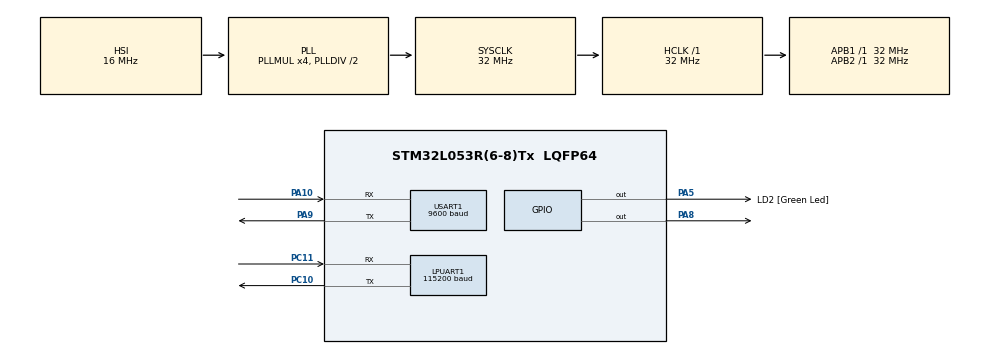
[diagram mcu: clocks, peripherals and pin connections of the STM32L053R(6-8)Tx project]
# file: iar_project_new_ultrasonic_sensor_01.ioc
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LPUART1.BaudRate=115200
LPUART1.WordLength=UART_WORDLENGTH_8B
Mcu.Family=STM32L0
Mcu.Name=STM32L053R(6-8)Tx
Mcu.Package=LQFP64
NVIC.RCC_CRS_IRQn=true\:0\:0\:false\:false\:true\:true\:false\:true
NVIC.USART1_IRQn=true\:0\:0\:false\:false\:true\:true\:true\:true
PA10.Mode=Asynchronous
PA10.Signal=USART1_RX
PA13.GPIO_Label=TMS
PA13.Mode=Serial_Wire
PA13.Signal=SYS_SWDIO
PA14.GPIO_Label=TCK
PA14.Mode=Serial_Wire
PA14.Signal=SYS_SWCLK
PA5.GPIO_Label=LD2 [Green Led]
PA5.Signal=GPIO_Output
PA8.Signal=GPIO_Output
PA9.Mode=Asynchronous
PA9.Signal=USART1_TX
PC10.Mode=Asynchronous
PC10.Signal=LPUART1_TX
PC11.Mode=Asynchronous
PC11.Signal=LPUART1_RX
PC14-OSC32_IN.Mode=LSE-External-Oscillator
PC14-OSC32_IN.Signal=RCC_OSC32_IN
PC15-OSC32_OUT.Mode=LSE-External-Oscillator
PC15-OSC32_OUT.Signal=RCC_OSC32_OUT
PH0-OSC_IN.Mode=HSE-External-Oscillator
PH0-OSC_IN.Signal=RCC_OSC_IN
PH1-OSC_OUT.Mode=HSE-External-Oscillator
PH1-OSC_OUT.Signal=RCC_OSC_OUT
ProjectManager.HeapSize=0x200
ProjectManager.StackSize=0x400
ProjectManager.TargetToolchain=EWARM V8.32
RCC.AHBFreq_Value=32000000
RCC.APB1Freq_Value=32000000
RCC.APB1TimFreq_Value=32000000
RCC.APB2Freq_Value=32000000
RCC.APB2TimFreq_Value=32000000
RCC.HCLKFreq_Value=32000000
RCC.HSE_VALUE=8000000
RCC.HSI16_VALUE=16000000
RCC.HSI48_VALUE=48000000
RCC.HSI_VALUE=16000000
RCC.MSI_VALUE=2097000
RCC.PLLMUL=RCC_PLLMUL_4
RCC.SYSCLKFreq_VALUE=32000000
RCC.SYSCLKSource=RCC_SYSCLKSOURCE_PLLCLK
RCC.VCOOutputFreq_Value=64000000
USART1.BaudRate=9600
USART1.VirtualMode-Asynchronous=VM_ASYNC
board=NUCLEO-L053R8

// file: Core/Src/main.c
/* USER CODE BEGIN Header */
/**
  ******************************************************************************
  * @file           : main.c
  * @brief          : Main program body
  ******************************************************************************
  * @attention
  *
  * Copyright (c) 2023 STMicroelectronics.
  * All rights reserved.
  *
  * This software is licensed under terms that can be found in the LICENSE file
  * in the root directory of this software component.
  * If no LICENSE file comes with this software, it is provided AS-IS.
  *
  ******************************************************************************
  */
/* USER CODE END Header */
#include "main.h"
#include "usart.h"
#include "gpio.h"

/* USER CODE BEGIN Includes */
#include "stdbool.h"
#include <stdio.h>
#include <stdint.h>
#include <string.h>
/* USER CODE END Includes */

/* USER CODE BEGIN PV */
#define UART_TOTAL_BYTES 64

uint8_t globalRxBuffer[UART_TOTAL_BYTES];
uint8_t globalRxData;
char text[10];
uint16_t counter;
uint16_t distance;

/* USER CODE END PV */

void SystemClock_Config(void);

/* USER CODE BEGIN 0 */
void HAL_UART_RxCpltCallback(UART_HandleTypeDef *huart)
{
  globalRxBuffer[counter++] = globalRxData;
  HAL_UART_Receive_IT(&huart1, &globalRxData, 1);
}

/* USER CODE END 0 */

int main(void)
{

  /* MCU Configuration--------------------------------------------------------*/

  /* Reset of all peripherals, Initializes the Flash interface and the Systick. */
  HAL_Init();

  /* Configure the system clock */
  SystemClock_Config();

  /* Initialize all configured peripherals */
  MX_GPIO_Init();
  MX_LPUART1_UART_Init();
  MX_USART1_UART_Init();
  /* USER CODE BEGIN 2 */

  uint8_t addBuf[3] = {0xe8,0x02,0xb0};
  HAL_UART_Receive_IT(&huart1, &globalRxData, 1);

  /* USER CODE END 2 */

  /* Infinite loop */
  while (1)
  {

    /* USER CODE BEGIN 3 */
    counter = 0;
    HAL_UART_Transmit(&huart1, (uint8_t*)addBuf, 3, 100);
    uint32_t timeout = HAL_GetTick();

    while ((HAL_GetTick() - timeout) < 3000)
    {
      if(counter == 2)
      {
        distance = ((uint16_t)globalRxBuffer[1] << 0) | (uint16_t)(globalRxBuffer[0] << 8);
        HAL_UART_Transmit(&hlpuart1, (uint8_t*)text, sprintf(text, "%d cm\n", distance/10), 100);
        HAL_GPIO_WritePin(GPIOA, GPIO_PIN_5, GPIO_PIN_SET);
        break;
      }
    }
    HAL_Delay(1000);
  }
  /* USER CODE END 3 */
}

void SystemClock_Config(void)
{
  RCC_OscInitTypeDef RCC_OscInitStruct = {0};
  RCC_ClkInitTypeDef RCC_ClkInitStruct = {0};
  RCC_PeriphCLKInitTypeDef PeriphClkInit = {0};

  /** Configure the main internal regulator output voltage
  */
  __HAL_PWR_VOLTAGESCALING_CONFIG(PWR_REGULATOR_VOLTAGE_SCALE1);

  /** Initializes the RCC Oscillators according to the specified parameters
  * in the RCC_OscInitTypeDef structure.
  */
  RCC_OscInitStruct.OscillatorType = RCC_OSCILLATORTYPE_HSI;
  RCC_OscInitStruct.HSIState = RCC_HSI_ON;
  RCC_OscInitStruct.HSICalibrationValue = RCC_HSICALIBRATION_DEFAULT;
  RCC_OscInitStruct.PLL.PLLState = RCC_PLL_ON;
  RCC_OscInitStruct.PLL.PLLSource = RCC_PLLSOURCE_HSI;
  RCC_OscInitStruct.PLL.PLLMUL = RCC_PLLMUL_4;
  RCC_OscInitStruct.PLL.PLLDIV = RCC_PLLDIV_2;
  if (HAL_RCC_OscConfig(&RCC_OscInitStruct) != HAL_OK)
  {
    Error_Handler();
  }

  /** Initializes the CPU, AHB and APB buses clocks
  */
  RCC_ClkInitStruct.ClockType = RCC_CLOCKTYPE_HCLK|RCC_CLOCKTYPE_SYSCLK
                              |RCC_CLOCKTYPE_PCLK1|RCC_CLOCKTYPE_PCLK2;
  RCC_ClkInitStruct.SYSCLKSource = RCC_SYSCLKSOURCE_PLLCLK;
  RCC_ClkInitStruct.AHBCLKDivider = RCC_SYSCLK_DIV1;
  RCC_ClkInitStruct.APB1CLKDivider = RCC_HCLK_DIV1;
  RCC_ClkInitStruct.APB2CLKDivider = RCC_HCLK_DIV1;

  if (HAL_RCC_ClockConfig(&RCC_ClkInitStruct, FLASH_LATENCY_1) != HAL_OK)
  {
    Error_Handler();
  }
  PeriphClkInit.PeriphClockSelection = RCC_PERIPHCLK_USART1|RCC_PERIPHCLK_LPUART1;
  PeriphClkInit.Usart1ClockSelection = RCC_USART1CLKSOURCE_PCLK2;
  PeriphClkInit.Lpuart1ClockSelection = RCC_LPUART1CLKSOURCE_PCLK1;
  if (HAL_RCCEx_PeriphCLKConfig(&PeriphClkInit) != HAL_OK)
  {
    Error_Handler();
  }
}

void Error_Handler(void)
{
  __disable_irq();
  while (1)
  {
  }
}
